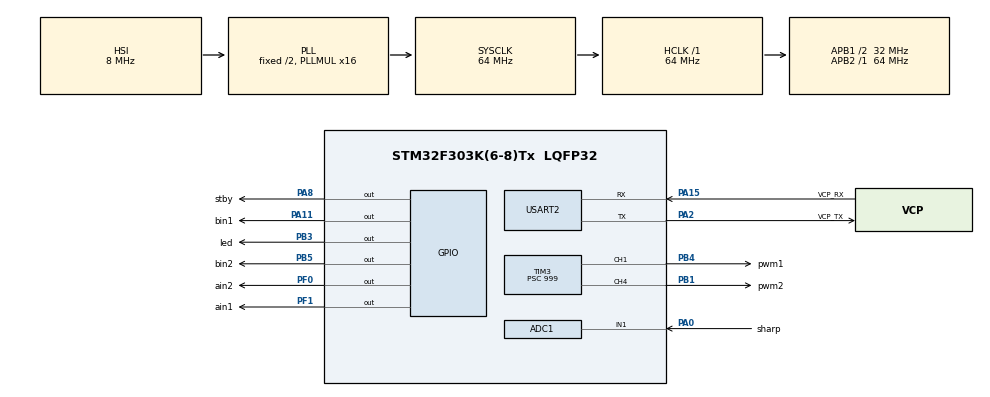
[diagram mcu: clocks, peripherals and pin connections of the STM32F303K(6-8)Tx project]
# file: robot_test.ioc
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ADC1.Channel-0\#ChannelRegularConversion=ADC_CHANNEL_1
ADC1.ClockPrescaler=ADC_CLOCK_ASYNC_DIV1
ADC1.ContinuousConvMode=ENABLE
ADC1.DMAContinuousRequests=ENABLE
ADC1.ExternalTrigConv=ADC_EXTERNALTRIGCONV_T2_TRGO
ADC1.NbrOfConversionFlag=1
ADC1.Offset-0\#ChannelRegularConversion=0
ADC1.OffsetNumber-0\#ChannelRegularConversion=ADC_OFFSET_NONE
ADC1.Rank-0\#ChannelRegularConversion=1
ADC1.SamplingTime-0\#ChannelRegularConversion=ADC_SAMPLETIME_7CYCLES_5
ADC1.SubFamily=STM32F303x8
ADC1.master=1
Dma.ADC1.0.Direction=DMA_PERIPH_TO_MEMORY
Dma.ADC1.0.Instance=DMA1_Channel1
Dma.ADC1.0.MemDataAlignment=DMA_MDATAALIGN_WORD
Dma.ADC1.0.MemInc=DMA_MINC_ENABLE
Dma.ADC1.0.Mode=DMA_CIRCULAR
Dma.ADC1.0.PeriphDataAlignment=DMA_PDATAALIGN_WORD
Dma.ADC1.0.PeriphInc=DMA_PINC_DISABLE
Dma.ADC1.0.Priority=DMA_PRIORITY_VERY_HIGH
Dma.Request0=ADC1
FREERTOS.Tasks01=defaultTask,0,128,StartDefaultTask,Default,NULL,Dynamic,NULL,NULL;motor_task,-3,256,motor,As weak,NULL,Dynamic,NULL,NULL;adc_dma_task,-3,512,adcControl,As weak,NULL,Dynamic,NULL,NULL
FREERTOS.configTOTAL_HEAP_SIZE=9216
Mcu.Family=STM32F3
Mcu.Name=STM32F303K(6-8)Tx
Mcu.Package=LQFP32
NVIC.DMA1_Channel1_IRQn=true\:5\:0\:false\:false\:true\:true
NVIC.PriorityGroup=NVIC_PRIORITYGROUP_4
NVIC.TIM1_BRK_TIM15_IRQn=true\:0\:0\:false\:false\:true\:false
NVIC.TimeBase=TIM1_BRK_TIM15_IRQn
NVIC.TimeBaseIP=TIM15
PA0.GPIO_Label=sharp
PA0.Mode=IN1-Single-Ended
PA0.Signal=ADC1_IN1
PA11.GPIO_Label=bin1
PA11.Signal=GPIO_Output
PA13.GPIO_Label=SWDIO
PA13.Signal=SYS_JTMS-SWDIO
PA14.GPIO_Label=SWCLK
PA14.Signal=SYS_JTCK-SWCLK
PA15.GPIO_Label=VCP_RX
PA15.Mode=Asynchronous
PA15.Signal=USART2_RX
PA2.GPIO_Label=VCP_TX
PA2.Mode=Asynchronous
PA2.Signal=USART2_TX
PA8.GPIO_Label=stby
PA8.Signal=GPIO_Output
PB1.GPIO_Label=pwm2
PB1.Signal=S_TIM3_CH4
PB3.GPIO_Label=led
PB3.Signal=GPIO_Output
PB4.GPIO_Label=pwm1
PB4.Signal=S_TIM3_CH1
PB5.GPIO_Label=bin2
PB5.Signal=GPIO_Output
PF0\ /\ OSC_IN.GPIO_Label=ain2
PF0\ /\ OSC_IN.Signal=GPIO_Output
PF1\ /\ OSC_OUT.GPIO_Label=ain1
PF1\ /\ OSC_OUT.Signal=GPIO_Output
ProjectManager.HeapSize=0x200
ProjectManager.StackSize=0x400
ProjectManager.TargetToolchain=Makefile
RCC.AHBFreq_Value=64000000
RCC.APB1CLKDivider=RCC_HCLK_DIV2
RCC.APB1Freq_Value=32000000
RCC.APB1TimFreq_Value=64000000
RCC.APB2Freq_Value=64000000
RCC.APB2TimFreq_Value=64000000
RCC.CortexFreq_Value=64000000
RCC.HCLKFreq_Value=64000000
RCC.HSE_VALUE=8000000
RCC.HSI_VALUE=8000000
RCC.PLLMUL=RCC_PLL_MUL16
RCC.SYSCLKFreq_VALUE=64000000
RCC.SYSCLKSourceVirtual=RCC_SYSCLKSOURCE_PLLCLK
SH.S_TIM3_CH1.0=TIM3_CH1,PWM Generation1 CH1
SH.S_TIM3_CH4.0=TIM3_CH4,PWM Generation4 CH4
TIM2.TIM_MasterOutputTrigger=TIM_TRGO_UPDATE
TIM2.TIM_MasterSlaveMode=TIM_MASTERSLAVEMODE_ENABLE
TIM3.Channel-PWM\ Generation1\ CH1=TIM_CHANNEL_1
TIM3.Channel-PWM\ Generation4\ CH4=TIM_CHANNEL_4
TIM3.ClockDivision=TIM_CLOCKDIVISION_DIV1
TIM3.Period=639
TIM3.Prescaler=999
TIM3.Pulse-PWM\ Generation1\ CH1=319
TIM3.Pulse-PWM\ Generation4\ CH4=319
USART2.VirtualMode-Asynchronous=VM_ASYNC
VP_FREERTOS_VS_ENABLE.Mode=Enabled
VP_SYS_VS_tim15.Mode=TIM15
VP_TIM2_VS_ClockSourceINT.Mode=Internal
board=NUCLEO-F303K8

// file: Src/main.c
/**
  ******************************************************************************
  * File Name          : main.c
  * Description        : Main program body
  ******************************************************************************
  * This notice applies to any and all portions of this file
  * that are not between comment pairs USER CODE BEGIN and
  * USER CODE END. Other portions of this file, whether
  * inserted by the user or by software development tools
  * are owned by their respective copyright owners.
  *
  * Copyright (c) 2017 STMicroelectronics International N.V.
  * All rights reserved.
  *
  * Redistribution and use in source and binary forms, with or without
  * modification, are permitted, provided that the following conditions are met:
  *
  * 1. Redistribution of source code must retain the above copyright notice,
  *    this list of conditions and the following disclaimer.
  * 2. Redistributions in binary form must reproduce the above copyright notice,
  *    this list of conditions and the following disclaimer in the documentation
  *    and/or other materials provided with the distribution.
  * 3. Neither the name of STMicroelectronics nor the names of other
  *    contributors to this software may be used to endorse or promote products
  *    derived from this software without specific written permission.
  * 4. This software, including modifications and/or derivative works of this
  *    software, must execute solely and exclusively on microcontroller or
  *    microprocessor devices manufactured by or for STMicroelectronics.
  * 5. Redistribution and use of this software other than as permitted under
  *    this license is void and will automatically terminate your rights under
  *    this license.
  *
  * THIS SOFTWARE IS PROVIDED BY STMICROELECTRONICS AND CONTRIBUTORS "AS IS"
  * AND ANY EXPRESS, IMPLIED OR STATUTORY WARRANTIES, INCLUDING, BUT NOT
  * LIMITED TO, THE IMPLIED WARRANTIES OF MERCHANTABILITY, FITNESS FOR A
  * PARTICULAR PURPOSE AND NON-INFRINGEMENT OF THIRD PARTY INTELLECTUAL PROPERTY
  * RIGHTS ARE DISCLAIMED TO THE FULLEST EXTENT PERMITTED BY LAW. IN NO EVENT
  * SHALL STMICROELECTRONICS OR CONTRIBUTORS BE LIABLE FOR ANY DIRECT, INDIRECT,
  * INCIDENTAL, SPECIAL, EXEMPLARY, OR CONSEQUENTIAL DAMAGES (INCLUDING, BUT NOT
  * LIMITED TO, PROCUREMENT OF SUBSTITUTE GOODS OR SERVICES; LOSS OF USE, DATA,
  * OR PROFITS; OR BUSINESS INTERRUPTION) HOWEVER CAUSED AND ON ANY THEORY OF
  * LIABILITY, WHETHER IN CONTRACT, STRICT LIABILITY, OR TORT (INCLUDING
  * NEGLIGENCE OR OTHERWISE) ARISING IN ANY WAY OUT OF THE USE OF THIS SOFTWARE,
  * EVEN IF ADVISED OF THE POSSIBILITY OF SUCH DAMAGE.
  *
  ******************************************************************************
  */
#include "main.h"
#include "stm32f3xx_hal.h"
#include "cmsis_os.h"

ADC_HandleTypeDef hadc1;
DMA_HandleTypeDef hdma_adc1;

TIM_HandleTypeDef htim2;
TIM_HandleTypeDef htim3;

UART_HandleTypeDef huart2;

osThreadId defaultTaskHandle;
osThreadId motor_taskHandle;
osThreadId adc_dma_taskHandle;

/* USER CODE BEGIN PV */
/* Private variables ---------------------------------------------------------*/

/* USER CODE END PV */

void SystemClock_Config(void);
static void MX_GPIO_Init(void);
static void MX_DMA_Init(void);
static void MX_TIM3_Init(void);
static void MX_ADC1_Init(void);
static void MX_USART2_UART_Init(void);
static void MX_TIM2_Init(void);
void StartDefaultTask(void const * argument);
void motor(void const * argument);
void adcControl(void const * argument);

void HAL_TIM_MspPostInit(TIM_HandleTypeDef *htim);

/* USER CODE BEGIN PFP */
/* Private function prototypes -----------------------------------------------*/

/* USER CODE END PFP */

int main(void)
{

  /* MCU Configuration----------------------------------------------------------*/

  /* Reset of all peripherals, Initializes the Flash interface and the Systick. */
  HAL_Init();

  /* Configure the system clock */
  SystemClock_Config();

  /* Initialize all configured peripherals */
  MX_GPIO_Init();
  MX_DMA_Init();
  MX_TIM3_Init();
  MX_ADC1_Init();
  MX_USART2_UART_Init();
  MX_TIM2_Init();

  /* Create the thread(s) */
  /* definition and creation of defaultTask */
  osThreadDef(defaultTask, StartDefaultTask, osPriorityNormal, 0, 128);
  defaultTaskHandle = osThreadCreate(osThread(defaultTask), NULL);

  /* definition and creation of motor_task */
  osThreadDef(motor_task, motor, osPriorityIdle, 0, 256);
  motor_taskHandle = osThreadCreate(osThread(motor_task), NULL);

  /* definition and creation of adc_dma_task */
  osThreadDef(adc_dma_task, adcControl, osPriorityIdle, 0, 512);
  adc_dma_taskHandle = osThreadCreate(osThread(adc_dma_task), NULL);

  /* Start scheduler */
  osKernelStart();

  /* We should never get here as control is now taken by the scheduler */

  /* Infinite loop */
  while (1)
  {

  }

}

/** System Clock Configuration
*/
void SystemClock_Config(void)
{

  RCC_OscInitTypeDef RCC_OscInitStruct;
  RCC_ClkInitTypeDef RCC_ClkInitStruct;
  RCC_PeriphCLKInitTypeDef PeriphClkInit;

    /**Initializes the CPU, AHB and APB busses clocks
    */
  RCC_OscInitStruct.OscillatorType = RCC_OSCILLATORTYPE_HSI;
  RCC_OscInitStruct.HSIState = RCC_HSI_ON;
  RCC_OscInitStruct.HSICalibrationValue = 16;
  RCC_OscInitStruct.PLL.PLLState = RCC_PLL_ON;
  RCC_OscInitStruct.PLL.PLLSource = RCC_PLLSOURCE_HSI;
  RCC_OscInitStruct.PLL.PLLMUL = RCC_PLL_MUL16;
  if (HAL_RCC_OscConfig(&RCC_OscInitStruct) != HAL_OK)
  {
    _Error_Handler(__FILE__, __LINE__);
  }

    /**Initializes the CPU, AHB and APB busses clocks
    */
  RCC_ClkInitStruct.ClockType = RCC_CLOCKTYPE_HCLK|RCC_CLOCKTYPE_SYSCLK
                              |RCC_CLOCKTYPE_PCLK1|RCC_CLOCKTYPE_PCLK2;
  RCC_ClkInitStruct.SYSCLKSource = RCC_SYSCLKSOURCE_PLLCLK;
  RCC_ClkInitStruct.AHBCLKDivider = RCC_SYSCLK_DIV1;
  RCC_ClkInitStruct.APB1CLKDivider = RCC_HCLK_DIV2;
  RCC_ClkInitStruct.APB2CLKDivider = RCC_HCLK_DIV1;

  if (HAL_RCC_ClockConfig(&RCC_ClkInitStruct, FLASH_LATENCY_2) != HAL_OK)
  {
    _Error_Handler(__FILE__, __LINE__);
  }

  PeriphClkInit.PeriphClockSelection = RCC_PERIPHCLK_ADC12;
  PeriphClkInit.Adc12ClockSelection = RCC_ADC12PLLCLK_DIV1;
  if (HAL_RCCEx_PeriphCLKConfig(&PeriphClkInit) != HAL_OK)
  {
    _Error_Handler(__FILE__, __LINE__);
  }

    /**Configure the Systick interrupt time
    */
  HAL_SYSTICK_Config(HAL_RCC_GetHCLKFreq()/1000);

    /**Configure the Systick
    */
  HAL_SYSTICK_CLKSourceConfig(SYSTICK_CLKSOURCE_HCLK);

  /* SysTick_IRQn interrupt configuration */
  HAL_NVIC_SetPriority(SysTick_IRQn, 15, 0);
}

/* ADC1 init function */
static void MX_ADC1_Init(void)
{

  ADC_MultiModeTypeDef multimode;
  ADC_ChannelConfTypeDef sConfig;

    /**Common config
    */
  hadc1.Instance = ADC1;
  hadc1.Init.ClockPrescaler = ADC_CLOCK_ASYNC_DIV1;
  hadc1.Init.Resolution = ADC_RESOLUTION_12B;
  hadc1.Init.ScanConvMode = ADC_SCAN_DISABLE;
  hadc1.Init.ContinuousConvMode = ENABLE;
  hadc1.Init.DiscontinuousConvMode = DISABLE;
  hadc1.Init.ExternalTrigConvEdge = ADC_EXTERNALTRIGCONVEDGE_RISING;
  hadc1.Init.ExternalTrigConv = ADC_EXTERNALTRIGCONV_T2_TRGO;
  hadc1.Init.DataAlign = ADC_DATAALIGN_RIGHT;
  hadc1.Init.NbrOfConversion = 1;
  hadc1.Init.DMAContinuousRequests = ENABLE;
  hadc1.Init.EOCSelection = ADC_EOC_SINGLE_CONV;
  hadc1.Init.LowPowerAutoWait = DISABLE;
  hadc1.Init.Overrun = ADC_OVR_DATA_OVERWRITTEN;
  if (HAL_ADC_Init(&hadc1) != HAL_OK)
  {
    _Error_Handler(__FILE__, __LINE__);
  }

    /**Configure the ADC multi-mode
    */
  multimode.Mode = ADC_MODE_INDEPENDENT;
  if (HAL_ADCEx_MultiModeConfigChannel(&hadc1, &multimode) != HAL_OK)
  {
    _Error_Handler(__FILE__, __LINE__);
  }

    /**Configure Regular Channel
    */
  sConfig.Channel = ADC_CHANNEL_1;
  sConfig.Rank = 1;
  sConfig.SingleDiff = ADC_SINGLE_ENDED;
  sConfig.SamplingTime = ADC_SAMPLETIME_7CYCLES_5;
  sConfig.OffsetNumber = ADC_OFFSET_NONE;
  sConfig.Offset = 0;
  if (HAL_ADC_ConfigChannel(&hadc1, &sConfig) != HAL_OK)
  {
    _Error_Handler(__FILE__, __LINE__);
  }

}

/* TIM2 init function */
static void MX_TIM2_Init(void)
{

  TIM_ClockConfigTypeDef sClockSourceConfig;
  TIM_MasterConfigTypeDef sMasterConfig;

  htim2.Instance = TIM2;
  htim2.Init.Prescaler = 0;
  htim2.Init.CounterMode = TIM_COUNTERMODE_UP;
  htim2.Init.Period = 0;
  htim2.Init.ClockDivision = TIM_CLOCKDIVISION_DIV1;
  htim2.Init.AutoReloadPreload = TIM_AUTORELOAD_PRELOAD_DISABLE;
  if (HAL_TIM_Base_Init(&htim2) != HAL_OK)
  {
    _Error_Handler(__FILE__, __LINE__);
  }

  sClockSourceConfig.ClockSource = TIM_CLOCKSOURCE_INTERNAL;
  if (HAL_TIM_ConfigClockSource(&htim2, &sClockSourceConfig) != HAL_OK)
  {
    _Error_Handler(__FILE__, __LINE__);
  }

  sMasterConfig.MasterOutputTrigger = TIM_TRGO_UPDATE;
  sMasterConfig.MasterSlaveMode = TIM_MASTERSLAVEMODE_ENABLE;
  if (HAL_TIMEx_MasterConfigSynchronization(&htim2, &sMasterConfig) != HAL_OK)
  {
    _Error_Handler(__FILE__, __LINE__);
  }

}

/* TIM3 init function */
static void MX_TIM3_Init(void)
{

  TIM_MasterConfigTypeDef sMasterConfig;
  TIM_OC_InitTypeDef sConfigOC;

  htim3.Instance = TIM3;
  htim3.Init.Prescaler = 999;
  htim3.Init.CounterMode = TIM_COUNTERMODE_UP;
  htim3.Init.Period = 639;
  htim3.Init.ClockDivision = TIM_CLOCKDIVISION_DIV1;
  htim3.Init.AutoReloadPreload = TIM_AUTORELOAD_PRELOAD_DISABLE;
  if (HAL_TIM_PWM_Init(&htim3) != HAL_OK)
  {
    _Error_Handler(__FILE__, __LINE__);
  }

  sMasterConfig.MasterOutputTrigger = TIM_TRGO_RESET;
  sMasterConfig.MasterSlaveMode = TIM_MASTERSLAVEMODE_DISABLE;
  if (HAL_TIMEx_MasterConfigSynchronization(&htim3, &sMasterConfig) != HAL_OK)
  {
    _Error_Handler(__FILE__, __LINE__);
  }

  sConfigOC.OCMode = TIM_OCMODE_PWM1;
  sConfigOC.Pulse = 319;
  sConfigOC.OCPolarity = TIM_OCPOLARITY_HIGH;
  sConfigOC.OCFastMode = TIM_OCFAST_DISABLE;
  if (HAL_TIM_PWM_ConfigChannel(&htim3, &sConfigOC, TIM_CHANNEL_1) != HAL_OK)
  {
    _Error_Handler(__FILE__, __LINE__);
  }

  if (HAL_TIM_PWM_ConfigChannel(&htim3, &sConfigOC, TIM_CHANNEL_4) != HAL_OK)
  {
    _Error_Handler(__FILE__, __LINE__);
  }

  HAL_TIM_MspPostInit(&htim3);

}

/* USART2 init function */
static void MX_USART2_UART_Init(void)
{

  huart2.Instance = USART2;
  huart2.Init.BaudRate = 38400;
  huart2.Init.StopBits = UART_STOPBITS_1;
  huart2.Init.Parity = UART_PARITY_NONE;
  huart2.Init.Mode = UART_MODE_TX_RX;
  huart2.Init.HwFlowCtl = UART_HWCONTROL_NONE;
  huart2.Init.OverSampling = UART_OVERSAMPLING_16;
  huart2.Init.OneBitSampling = UART_ONE_BIT_SAMPLE_DISABLE;
  huart2.AdvancedInit.AdvFeatureInit = UART_ADVFEATURE_NO_INIT;
  if (HAL_UART_Init(&huart2) != HAL_OK)
  {
    _Error_Handler(__FILE__, __LINE__);
  }

}

static void MX_DMA_Init(void)
{
  /* DMA controller clock enable */
  __HAL_RCC_DMA1_CLK_ENABLE();

  /* DMA interrupt init */
  /* DMA1_Channel1_IRQn interrupt configuration */
  HAL_NVIC_SetPriority(DMA1_Channel1_IRQn, 5, 0);
  HAL_NVIC_EnableIRQ(DMA1_Channel1_IRQn);

}

/** Configure pins as
        * Analog
        * Input
        * Output
        * EVENT_OUT
        * EXTI
*/
static void MX_GPIO_Init(void)
{

  GPIO_InitTypeDef GPIO_InitStruct;

  /* GPIO Ports Clock Enable */
  __HAL_RCC_GPIOF_CLK_ENABLE();
  __HAL_RCC_GPIOA_CLK_ENABLE();
  __HAL_RCC_GPIOB_CLK_ENABLE();

  /*Configure GPIO pin Output Level */
  HAL_GPIO_WritePin(GPIOF, ain2_Pin|ain1_Pin, GPIO_PIN_RESET);

  /*Configure GPIO pin Output Level */
  HAL_GPIO_WritePin(GPIOA, stby_Pin|bin1_Pin, GPIO_PIN_RESET);

  /*Configure GPIO pin Output Level */
  HAL_GPIO_WritePin(GPIOB, led_Pin|bin2_Pin, GPIO_PIN_RESET);

  /*Configure GPIO pins : ain2_Pin ain1_Pin */
  GPIO_InitStruct.Pin = ain2_Pin|ain1_Pin;
  GPIO_InitStruct.Mode = GPIO_MODE_OUTPUT_PP;
  GPIO_InitStruct.Pull = GPIO_NOPULL;
  GPIO_InitStruct.Speed = GPIO_SPEED_FREQ_LOW;
  HAL_GPIO_Init(GPIOF, &GPIO_InitStruct);

  /*Configure GPIO pins : stby_Pin bin1_Pin */
  GPIO_InitStruct.Pin = stby_Pin|bin1_Pin;
  GPIO_InitStruct.Mode = GPIO_MODE_OUTPUT_PP;
  GPIO_InitStruct.Pull = GPIO_NOPULL;
  GPIO_InitStruct.Speed = GPIO_SPEED_FREQ_LOW;
  HAL_GPIO_Init(GPIOA, &GPIO_InitStruct);

  /*Configure GPIO pins : led_Pin bin2_Pin */
  GPIO_InitStruct.Pin = led_Pin|bin2_Pin;
  GPIO_InitStruct.Mode = GPIO_MODE_OUTPUT_PP;
  GPIO_InitStruct.Pull = GPIO_NOPULL;
  GPIO_InitStruct.Speed = GPIO_SPEED_FREQ_LOW;
  HAL_GPIO_Init(GPIOB, &GPIO_InitStruct);

}

/* StartDefaultTask function */
void StartDefaultTask(void const * argument)
{

  /* USER CODE BEGIN 5 */
  /* Infinite loop */
  for(;;)
  {
    HAL_GPIO_TogglePin(led_GPIO_Port, led_Pin);
    osDelay(1000);
  }
  /* USER CODE END 5 */
}

/* motor function */
__weak void motor(void const * argument)
{
  for(;;)
  {
    osDelay(1);
  }
}

/* adcControl function */
__weak void adcControl(void const * argument)
{
  for(;;)
  {
    osDelay(1);
  }
}

void HAL_TIM_PeriodElapsedCallback(TIM_HandleTypeDef *htim)
{
  if (htim->Instance == TIM15) {
    HAL_IncTick();
  }
}

void _Error_Handler(char * file, int line)
{
  while(1)
  {
  }
}

/************************ (C) COPYRIGHT STMicroelectronics *****END OF FILE****/

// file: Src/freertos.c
/**
  ******************************************************************************
  * File Name          : freertos.c
  * Description        : Code for freertos applications
  ******************************************************************************
  * This notice applies to any and all portions of this file
  * that are not between comment pairs USER CODE BEGIN and
  * USER CODE END. Other portions of this file, whether
  * inserted by the user or by software development tools
  * are owned by their respective copyright owners.
  *
  * Copyright (c) 2017 STMicroelectronics International N.V.
  * All rights reserved.
  *
  * Redistribution and use in source and binary forms, with or without
  * modification, are permitted, provided that the following conditions are met:
  *
  * 1. Redistribution of source code must retain the above copyright notice,
  *    this list of conditions and the following disclaimer.
  * 2. Redistributions in binary form must reproduce the above copyright notice,
  *    this list of conditions and the following disclaimer in the documentation
  *    and/or other materials provided with the distribution.
  * 3. Neither the name of STMicroelectronics nor the names of other
  *    contributors to this software may be used to endorse or promote products
  *    derived from this software without specific written permission.
  * 4. This software, including modifications and/or derivative works of this
  *    software, must execute solely and exclusively on microcontroller or
  *    microprocessor devices manufactured by or for STMicroelectronics.
  * 5. Redistribution and use of this software other than as permitted under
  *    this license is void and will automatically terminate your rights under
  *    this license.
  *
  * THIS SOFTWARE IS PROVIDED BY STMICROELECTRONICS AND CONTRIBUTORS "AS IS"
  * AND ANY EXPRESS, IMPLIED OR STATUTORY WARRANTIES, INCLUDING, BUT NOT
  * LIMITED TO, THE IMPLIED WARRANTIES OF MERCHANTABILITY, FITNESS FOR A
  * PARTICULAR PURPOSE AND NON-INFRINGEMENT OF THIRD PARTY INTELLECTUAL PROPERTY
  * RIGHTS ARE DISCLAIMED TO THE FULLEST EXTENT PERMITTED BY LAW. IN NO EVENT
  * SHALL STMICROELECTRONICS OR CONTRIBUTORS BE LIABLE FOR ANY DIRECT, INDIRECT,
  * INCIDENTAL, SPECIAL, EXEMPLARY, OR CONSEQUENTIAL DAMAGES (INCLUDING, BUT NOT
  * LIMITED TO, PROCUREMENT OF SUBSTITUTE GOODS OR SERVICES; LOSS OF USE, DATA,
  * OR PROFITS; OR BUSINESS INTERRUPTION) HOWEVER CAUSED AND ON ANY THEORY OF
  * LIABILITY, WHETHER IN CONTRACT, STRICT LIABILITY, OR TORT (INCLUDING
  * NEGLIGENCE OR OTHERWISE) ARISING IN ANY WAY OUT OF THE USE OF THIS SOFTWARE,
  * EVEN IF ADVISED OF THE POSSIBILITY OF SUCH DAMAGE.
  *
  ******************************************************************************
  */

#include "FreeRTOS.h"
#include "task.h"

/* USER CODE BEGIN Includes */
#include <string.h>
#include "cmsis_os.h"
#include "main.h"
#include "stm32f3xx_hal.h"
/* USER CODE END Includes */

/* USER CODE BEGIN Variables */
extern TIM_HandleTypeDef htim3;
extern ADC_HandleTypeDef hadc1;
extern UART_HandleTypeDef huart2;

int flag_adc = 0;
int deplacement_fini = 0;
uint32_t adcValue = 0;
/* USER CODE END Variables */

/* USER CODE BEGIN FunctionPrototypes */

void alumer_gauche(int sens) {
    HAL_GPIO_WritePin(ain1_GPIO_Port, ain1_Pin, !sens);
    HAL_GPIO_WritePin(ain2_GPIO_Port, ain2_Pin, sens);
}

void alumer_droite(int sens) {
    HAL_GPIO_WritePin(bin1_GPIO_Port, bin1_Pin, !sens);
    HAL_GPIO_WritePin(bin2_GPIO_Port, bin2_Pin, sens);
}

void eteindre_gauche() {
    HAL_GPIO_WritePin(ain1_GPIO_Port, ain1_Pin, 0);
    HAL_GPIO_WritePin(ain2_GPIO_Port, ain2_Pin, 0);
}

void eteindre_droite() {
    HAL_GPIO_WritePin(bin1_GPIO_Port, bin1_Pin, 0);
    HAL_GPIO_WritePin(bin2_GPIO_Port, bin2_Pin, 0);
}

void accelerer() {
    int pwm = 0;
    while (pwm != 100) {
        __HAL_TIM_SET_COMPARE(&htim3, TIM_CHANNEL_1, pwm);
        __HAL_TIM_SET_COMPARE(&htim3, TIM_CHANNEL_4, pwm);
        pwm += 10;
        osDelay(100);
    }
}

void deccelerer() {
    int pwm = 100;
    while (pwm != 0) {
        __HAL_TIM_SET_COMPARE(&htim3, TIM_CHANNEL_1, pwm);
        __HAL_TIM_SET_COMPARE(&htim3, TIM_CHANNEL_4, pwm);
        pwm -= 10;
        osDelay(100);
    }
}

void avancer_robot() {
    alumer_droite(1);
    alumer_gauche(1);
    accelerer();
    osDelay(2000);
    deccelerer();
    eteindre_droite();
    eteindre_gauche();
    deplacement_fini = 1;
}

void reculer_robot() {
    alumer_droite(0);
    alumer_gauche(0);
    accelerer();
    osDelay(2000);
    deccelerer();
    eteindre_droite();
    eteindre_gauche();
    deplacement_fini = 1;
}

void tourner_droite() {
    alumer_gauche(1);
    alumer_droite(0);
    accelerer();
    osDelay(1000);
    deccelerer();
    eteindre_droite();
    eteindre_gauche();
    deplacement_fini = 1;
}

void tourner_gauche() {
    alumer_droite(1);
    alumer_gauche(0);
    accelerer();
    osDelay(1000);
    deccelerer();
    eteindre_droite();
    eteindre_gauche();
    deplacement_fini = 1;
}

void HAL_ADC_ConvCpltCallback(ADC_HandleTypeDef *hadc) {
    UNUSED(hadc);
    adcValue = HAL_ADC_GetValue(hadc);
    flag = 1;
}

int _write(int file, char *ptr, int len) {
    UNUSED(file);

    HAL_UART_Transmit(&huart2, (uint8_t *) ptr, (uint16_t) len, 10000);
    return len;
}

/* USER CODE END FunctionPrototypes */

/* Hook prototypes */

/* USER CODE BEGIN Application */
void motor(void const * argument)
{
  /* USER CODE BEGIN motor */
  UNUSED(argument);

  HAL_GPIO_WritePin(stby_GPIO_Port, stby_Pin, 1);
  HAL_TIM_Base_Start(&htim3);
  HAL_TIM_PWM_Start(&htim3, TIM_CHANNEL_1);
  HAL_TIM_PWM_Start(&htim3, TIM_CHANNEL_4);

  /* Infinite loop */
  for(;;)
  {
    avancer_robot();
    osDelay(500);
    reculer_robot();
    osDelay(500);
    tourner_gauche();
    osDelay(500);
    tourner_droite();
    osDelay(500);
  }
  /* USER CODE END motor */
}

void adcControl(void const * argument)
{
  /* USER CODE BEGIN adcControl */
  /* Infinite loop */
  for(;;)
  {
      HAL_ADC_Start_IT(&hadc1);
      osDelay(1000);
      if (flag == 1) {
          printf("Value : %lu\n\r", adcValue);
          flag = 0;
      }
  }
  /* USER CODE END adcControl */
}

/* USER CODE END Application */

/************************ (C) COPYRIGHT STMicroelectronics *****END OF FILE****/
